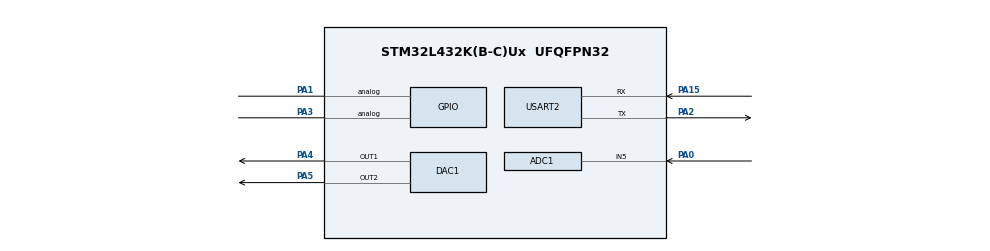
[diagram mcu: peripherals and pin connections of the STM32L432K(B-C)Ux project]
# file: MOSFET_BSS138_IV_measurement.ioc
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ADC1.Channel-0\#ChannelRegularConversion=ADC_CHANNEL_5
ADC1.ClockPrescaler=ADC_CLOCK_SYNC_PCLK_DIV2
ADC1.NbrOfConversionFlag=1
ADC1.OffsetNumber-0\#ChannelRegularConversion=ADC_OFFSET_NONE
ADC1.Rank-0\#ChannelRegularConversion=1
ADC1.SamplingTime-0\#ChannelRegularConversion=ADC_SAMPLETIME_247CYCLES_5
ADC1.master=1
DAC1.DAC_Channel-DAC_OUT2=DAC_CHANNEL_2
DAC1.DAC_Trigger-DAC_OUT2=DAC_TRIGGER_NONE
Mcu.Family=STM32L4
Mcu.Name=STM32L432K(B-C)Ux
Mcu.Package=UFQFPN32
NVIC.PriorityGroup=NVIC_PRIORITYGROUP_4
PA0.GPIO_Mode=GPIO_MODE_ANALOG_ADC_CONTROL
PA0.Signal=ADCx_IN5
PA1.Signal=GPIO_Analog
PA13\ (JTMS-SWDIO).Mode=Serial_Wire
PA13\ (JTMS-SWDIO).Signal=SYS_JTMS-SWDIO
PA14\ (JTCK-SWCLK).Mode=Serial_Wire
PA14\ (JTCK-SWCLK).Signal=SYS_JTCK-SWCLK
PA15\ (JTDI).Mode=Asynchronous
PA15\ (JTDI).Signal=USART2_RX
PA2.Mode=Asynchronous
PA2.Signal=USART2_TX
PA3.Signal=GPIO_Analog
PA4.Signal=COMP_DAC11_group
PA5.Signal=COMP_DAC12_group
ProjectManager.HeapSize=0x200
ProjectManager.StackSize=0x400
ProjectManager.TargetToolchain=STM32CubeIDE
RCC.ADCFreq_Value=32000000
RCC.HSE_VALUE=8000000
RCC.HSI48_VALUE=48000000
RCC.HSI_VALUE=16000000
RCC.LSE_VALUE=32768
RCC.MSI_VALUE=4000000
RCC.PLLSAI1N=16
RCC.USBFreq_Value=32000000
RCC.VCOOutputFreq_Value=32000000
SH.ADCx_IN5.0=ADC1_IN5,IN5-Single-Ended
SH.COMP_DAC11_group.0=DAC1_OUT1,DAC_OUT1
SH.COMP_DAC12_group.0=DAC1_OUT2,DAC_OUT2
USART2.VirtualMode-Asynchronous=VM_ASYNC
board=custom

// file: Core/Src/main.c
/* USER CODE BEGIN Header */
/**
  ******************************************************************************
  * @file           : main.c
  * @brief          : Main program body
  ******************************************************************************
  * @attention
  *
  * Copyright (c) 2026 STMicroelectronics.
  * All rights reserved.
  *
  * This software is licensed under terms that can be found in the LICENSE file
  * in the root directory of this software component.
  * If no LICENSE file comes with this software, it is provided AS-IS.
  *
  ******************************************************************************
  */
/* USER CODE END Header */
#include "main.h"

/* USER CODE BEGIN Includes */
#include "sweep_app.h"
#include "sweep_io.h"
#include "vds_sweep_app.h"
#include <string.h>
/* USER CODE END Includes */

ADC_HandleTypeDef hadc1;

DAC_HandleTypeDef hdac1;

UART_HandleTypeDef huart2;

void SystemClock_Config(void);
static void MX_GPIO_Init(void);
static void MX_ADC1_Init(void);
static void MX_DAC1_Init(void);
static void MX_USART2_UART_Init(void);

/* USER CODE BEGIN 0 */
static void RunMeasurement(uint8_t mode)
{
  char running[] = "RUN 0\r\n";
  char done[] = "DONE 0\r\n";
  running[4] = (char)('0' + mode);
  done[5] = running[4];

  measurement_done_live = 0U;
  sweeps_completed_live = 0U;
  sweep_status_live = 0U;
  Sweep_SendText(running);
  if (mode == MEASUREMENT_MODE_VDS_ID || mode == MEASUREMENT_MODE_VDS_ID_MULTI_GATE)
    VdsSweep_Run(mode == MEASUREMENT_MODE_VDS_ID_MULTI_GATE);
  else
    Sweep_RunVgs(mode == MEASUREMENT_MODE_VGS_ID_MULTI_SUPPLY);

  Sweep_SetOutput(DAC_CHANNEL_2, 0.0f);
  Sweep_SetOutput(DAC_CHANNEL_1, 0.0f);
  measurement_done_live = 1U;
  /* Discard bytes sent while the blocking sweep was running. */
  __HAL_UART_SEND_REQ(&huart2, UART_RXDATA_FLUSH_REQUEST);
  __HAL_UART_CLEAR_OREFLAG(&huart2);
  Sweep_SendText(done);
}

static void WaitForMeasurementCommands(void)
{
  uint8_t line[8]; /* START n, optionally followed by CR. */
  size_t length = 0U;
  bool overflow = false;
  Sweep_SendText("READY\r\n");

  for (;;)
  {
    uint8_t byte;
    HAL_StatusTypeDef status = HAL_UART_Receive(&huart2, &byte, 1U, 100U);
    if (status == HAL_TIMEOUT)
      continue;
    if (status != HAL_OK)
    {
      __HAL_UART_SEND_REQ(&huart2, UART_RXDATA_FLUSH_REQUEST);
      __HAL_UART_CLEAR_OREFLAG(&huart2);
      length = 0U;
      overflow = true;
      continue;
    }
    if (byte != '\n')
    {
      if (length < sizeof(line))
        line[length++] = byte;
      else
        overflow = true;
      continue;
    }

    if (length > 0U && line[length - 1U] == '\r')
      --length;
    if (!overflow && length == 7U && memcmp(line, "START ", 6U) == 0
        && line[6] >= '0' && line[6] <= '3')
      RunMeasurement((uint8_t)(line[6] - '0'));
    else if (overflow || length > 0U)
      Sweep_SendText("ERR COMMAND\r\n");
    length = 0U;
    overflow = false;
  }
}

/* USER CODE END 0 */

int main(void)
{

  /* MCU Configuration--------------------------------------------------------*/

  /* Reset of all peripherals, Initializes the Flash interface and the Systick. */
  HAL_Init();

  /* Configure the system clock */
  SystemClock_Config();

  /* Initialize all configured peripherals */
  MX_GPIO_Init();
  MX_ADC1_Init();
  MX_DAC1_Init();
  MX_USART2_UART_Init();
  /* USER CODE BEGIN 2 */
  Sweep_StartHardware();
  WaitForMeasurementCommands();
  /* USER CODE END 2 */

  /* Infinite loop */
  while (1)
  {

  }
}

void SystemClock_Config(void)
{
  RCC_OscInitTypeDef RCC_OscInitStruct = {0};
  RCC_ClkInitTypeDef RCC_ClkInitStruct = {0};

  /** Configure the main internal regulator output voltage
  */
  if (HAL_PWREx_ControlVoltageScaling(PWR_REGULATOR_VOLTAGE_SCALE1) != HAL_OK)
  {
    Error_Handler();
  }

  /** Initializes the RCC Oscillators according to the specified parameters
  * in the RCC_OscInitTypeDef structure.
  */
  RCC_OscInitStruct.OscillatorType = RCC_OSCILLATORTYPE_MSI;
  RCC_OscInitStruct.MSIState = RCC_MSI_ON;
  RCC_OscInitStruct.MSICalibrationValue = 0;
  RCC_OscInitStruct.MSIClockRange = RCC_MSIRANGE_6;
  RCC_OscInitStruct.PLL.PLLState = RCC_PLL_NONE;
  if (HAL_RCC_OscConfig(&RCC_OscInitStruct) != HAL_OK)
  {
    Error_Handler();
  }

  /** Initializes the CPU, AHB and APB buses clocks
  */
  RCC_ClkInitStruct.ClockType = RCC_CLOCKTYPE_HCLK|RCC_CLOCKTYPE_SYSCLK
                              |RCC_CLOCKTYPE_PCLK1|RCC_CLOCKTYPE_PCLK2;
  RCC_ClkInitStruct.SYSCLKSource = RCC_SYSCLKSOURCE_MSI;
  RCC_ClkInitStruct.AHBCLKDivider = RCC_SYSCLK_DIV1;
  RCC_ClkInitStruct.APB1CLKDivider = RCC_HCLK_DIV1;
  RCC_ClkInitStruct.APB2CLKDivider = RCC_HCLK_DIV1;

  if (HAL_RCC_ClockConfig(&RCC_ClkInitStruct, FLASH_LATENCY_0) != HAL_OK)
  {
    Error_Handler();
  }
}

static void MX_ADC1_Init(void)
{

  ADC_ChannelConfTypeDef sConfig = {0};

  /** Common config
  */
  hadc1.Instance = ADC1;
  hadc1.Init.ClockPrescaler = ADC_CLOCK_SYNC_PCLK_DIV2;
  hadc1.Init.Resolution = ADC_RESOLUTION_12B;
  hadc1.Init.DataAlign = ADC_DATAALIGN_RIGHT;
  hadc1.Init.ScanConvMode = ADC_SCAN_DISABLE;
  hadc1.Init.EOCSelection = ADC_EOC_SINGLE_CONV;
  hadc1.Init.LowPowerAutoWait = DISABLE;
  hadc1.Init.ContinuousConvMode = DISABLE;
  hadc1.Init.NbrOfConversion = 1;
  hadc1.Init.DiscontinuousConvMode = DISABLE;
  hadc1.Init.ExternalTrigConv = ADC_SOFTWARE_START;
  hadc1.Init.ExternalTrigConvEdge = ADC_EXTERNALTRIGCONVEDGE_NONE;
  hadc1.Init.DMAContinuousRequests = DISABLE;
  hadc1.Init.Overrun = ADC_OVR_DATA_PRESERVED;
  hadc1.Init.OversamplingMode = DISABLE;
  if (HAL_ADC_Init(&hadc1) != HAL_OK)
  {
    Error_Handler();
  }

  /** Configure Regular Channel
  */
  sConfig.Channel = ADC_CHANNEL_5;
  sConfig.Rank = ADC_REGULAR_RANK_1;
  sConfig.SamplingTime = ADC_SAMPLETIME_247CYCLES_5;
  sConfig.SingleDiff = ADC_SINGLE_ENDED;
  sConfig.OffsetNumber = ADC_OFFSET_NONE;
  sConfig.Offset = 0;
  if (HAL_ADC_ConfigChannel(&hadc1, &sConfig) != HAL_OK)
  {
    Error_Handler();
  }

}

static void MX_DAC1_Init(void)
{

  DAC_ChannelConfTypeDef sConfig = {0};

  /** DAC Initialization
  */
  hdac1.Instance = DAC1;
  if (HAL_DAC_Init(&hdac1) != HAL_OK)
  {
    Error_Handler();
  }

  /** DAC channel OUT1 config
  */
  sConfig.DAC_SampleAndHold = DAC_SAMPLEANDHOLD_DISABLE;
  sConfig.DAC_Trigger = DAC_TRIGGER_NONE;
  sConfig.DAC_OutputBuffer = DAC_OUTPUTBUFFER_ENABLE;
  sConfig.DAC_ConnectOnChipPeripheral = DAC_CHIPCONNECT_DISABLE;
  sConfig.DAC_UserTrimming = DAC_TRIMMING_FACTORY;
  if (HAL_DAC_ConfigChannel(&hdac1, &sConfig, DAC_CHANNEL_1) != HAL_OK)
  {
    Error_Handler();
  }

  /** DAC channel OUT2 config
  */
  if (HAL_DAC_ConfigChannel(&hdac1, &sConfig, DAC_CHANNEL_2) != HAL_OK)
  {
    Error_Handler();
  }

}

static void MX_USART2_UART_Init(void)
{

  huart2.Instance = USART2;
  huart2.Init.BaudRate = 115200;
  huart2.Init.WordLength = UART_WORDLENGTH_8B;
  huart2.Init.StopBits = UART_STOPBITS_1;
  huart2.Init.Parity = UART_PARITY_NONE;
  huart2.Init.Mode = UART_MODE_TX_RX;
  huart2.Init.HwFlowCtl = UART_HWCONTROL_NONE;
  huart2.Init.OverSampling = UART_OVERSAMPLING_16;
  huart2.Init.OneBitSampling = UART_ONE_BIT_SAMPLE_DISABLE;
  huart2.AdvancedInit.AdvFeatureInit = UART_ADVFEATURE_NO_INIT;
  if (HAL_UART_Init(&huart2) != HAL_OK)
  {
    Error_Handler();
  }

}

static void MX_GPIO_Init(void)
{
  GPIO_InitTypeDef GPIO_InitStruct = {0};

  /* GPIO Ports Clock Enable */
  __HAL_RCC_GPIOA_CLK_ENABLE();

  /*Configure GPIO pins : PA1 PA3 */
  GPIO_InitStruct.Pin = GPIO_PIN_1|GPIO_PIN_3;
  GPIO_InitStruct.Mode = GPIO_MODE_ANALOG;
  GPIO_InitStruct.Pull = GPIO_NOPULL;
  HAL_GPIO_Init(GPIOA, &GPIO_InitStruct);

}

void Error_Handler(void)
{
  __disable_irq();
  while (1)
  {
  }
}
